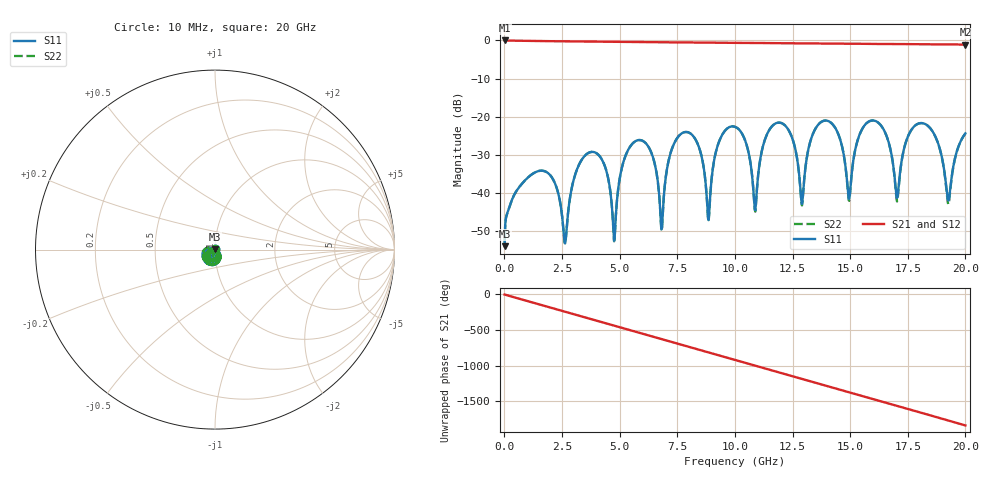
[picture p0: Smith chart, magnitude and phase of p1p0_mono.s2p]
! Stitch-density study - 40 x 12 mm symmetric stripline, cut at x=20 mm
! Case: p1p0_mono
! Sweep: 10 MHz - 20 GHz, 25 MHz step, 4 cores
# GHz S MA R 50.000000
! Terminal data exported
! Port[1] = U1.PAD1.SIG
! Port[2] = U2.PAD1.SIG
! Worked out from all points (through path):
!   801 points, 10 MHz to 20 GHz, reference 50 ohm
!   highest |S21| = -0.02 dB at 10 MHz (marker M1); lowest = -1.1 dB at 20 GHz (marker M2)
!   group delay of S21, straight-line fit = 255 ps
!   lowest |S11| = -53.9 dB at 10 MHz (marker M3), VSWR 1.00, Z = 50.2 + j0.095 ohm
!   |S11| at or under -10 dB: start of sweep to end of sweep
!   |S22| runs from -53.9 to -21.0 dB; largest |S21 - S12| = 0
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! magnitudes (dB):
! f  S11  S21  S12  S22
! 10 MHz  -53.9  0.0  0.0  -53.9
! 1.585 GHz  -34.1  -0.2  -0.2  -34.1
! 2.635 GHz  -53.2  -0.2  -0.2  -53.3
! 3.36 GHz  -31.2  -0.3  -0.3  -31.2
! 4.76 GHz  -52.5  -0.4  -0.4  -52.6
! 5.66 GHz  -26.5  -0.4  -0.4  -26.5
! 6.685 GHz  -38.5  -0.5  -0.5  -38.5
! 7.96 GHz  -24.1  -0.6  -0.6  -24.1
! 8.86 GHz  -47.1  -0.6  -0.6  -47.4
! 10.01 GHz  -22.7  -0.7  -0.7  -22.7
! 10.88 GHz  -44.5  -0.7  -0.7  -44.8
! 11.61 GHz  -22.5  -0.7  -0.7  -22.5
! 12.91 GHz  -42.8  -0.8  -0.8  -43.2
! 13.36 GHz  -24.9  -0.8  -0.8  -24.9
! 14.31 GHz  -22.5  -0.9  -0.9  -22.5
! 14.96 GHz  -41.5  -0.9  -0.9  -42.0
! 15.66 GHz  -22.0  -0.9  -0.9  -22.0
! 16.68 GHz  -27.0  -0.9  -0.9  -27.0
! 17.04 GHz  -41.3  -0.9  -0.9  -42.2
! 18.39 GHz  -22.4  -1.0  -1.0  -22.5
! 19.26 GHz  -41.9  -1.0  -1.0  -43.0
! 20 GHz  -24.4  -1.1  -1.1  -24.4
